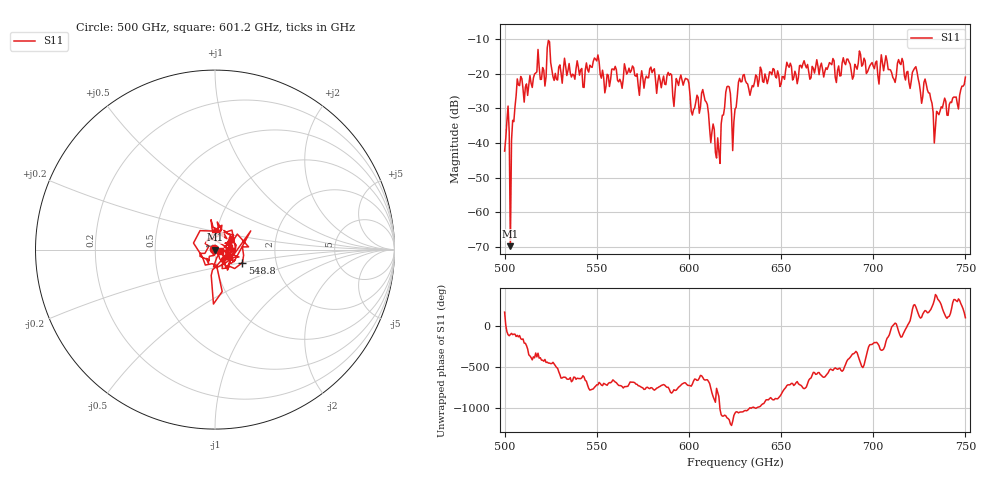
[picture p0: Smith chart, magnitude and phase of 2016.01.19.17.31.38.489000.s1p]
!Created with skrf (http://scikit-rf.org).
# GHz S RI R 50.0
!freq ReS11 ImS11
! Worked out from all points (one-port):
!   401 points, 500 GHz to 750 GHz, reference 50 ohm
!   lowest |S11| = -69.8 dB at 503.1 GHz (marker M1), VSWR 1.00, Z = 50 - j0.0311 ohm
!   |S11| at or under -10 dB: start of sweep to end of sweep
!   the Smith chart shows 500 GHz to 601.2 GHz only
!   S11 on the Smith chart (normalised r, x): 500 GHz: 0.99, +0.00; 548.8 GHz: 1.34, -0.20; 601.2 GHz: 1.06, -0.01
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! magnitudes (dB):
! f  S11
! 500 GHz  -42.3
! 501.2 GHz  -33.6
! 503.1 GHz  -69.8
! 504.4 GHz  -33.4
! 505.6 GHz  -29.6
! 508.1 GHz  -23.4
! 521.2 GHz  -18.9
! 524.4 GHz  -10.8
! 527.5 GHz  -19.9
! 531.2 GHz  -22.7
! 548.8 GHz  -15.4
! 562.5 GHz  -21.6
! 593.8 GHz  -22.2
! 598.8 GHz  -21.5
! 601.2 GHz  -30.8
! 608.1 GHz  -26.1
! 615.6 GHz  -38.5
! 621.2 GHz  -23.6
! 625 GHz  -30.3
! 628.8 GHz  -22.2
! 656.2 GHz  -21.8
! 687.5 GHz  -17.2
! 711.2 GHz  -21.6
! 715 GHz  -17.3
! 718.8 GHz  -19.3
! 728.8 GHz  -23.0
! 734.4 GHz  -30.8
! 750 GHz  -21.0
